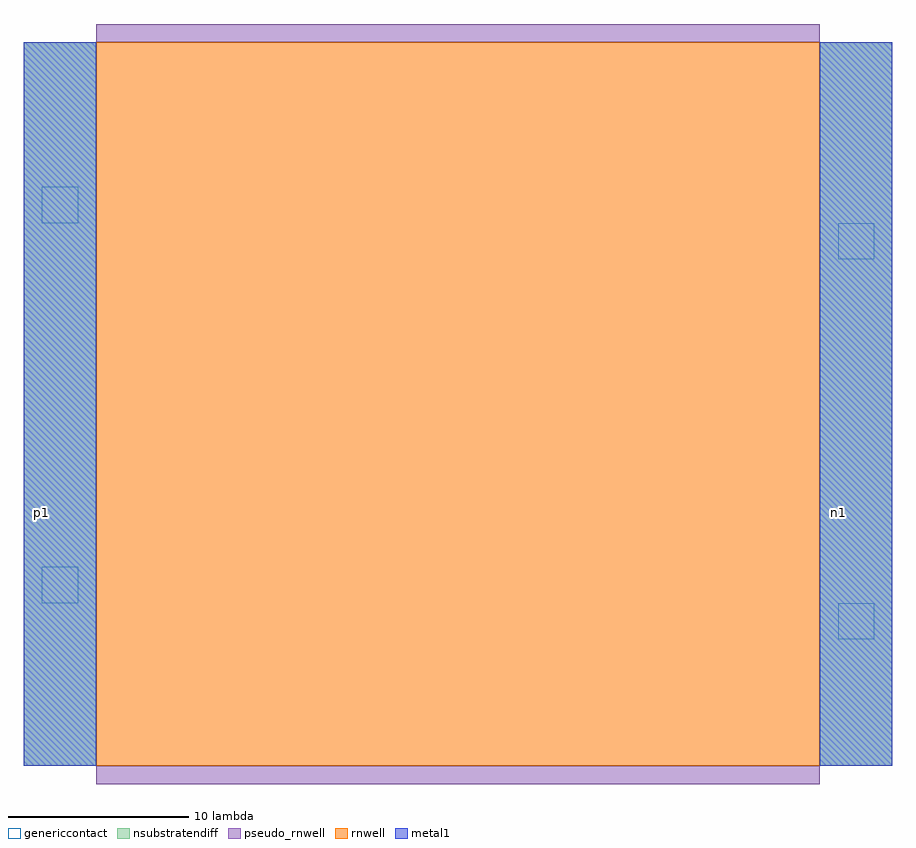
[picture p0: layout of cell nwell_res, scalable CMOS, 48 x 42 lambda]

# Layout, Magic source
magic
tech scmos
<< nsubstratendiff >>
rect 77 1 81 41
rect 121 1 125 41
<< genericcontact >>
rect 78 31 80 33
rect 122 29 124 31
rect 78 10 80 12
rect 122 8 124 10
<< metal1 >>
rect 77 1 81 41
rect 121 1 125 41
<< pseudo_rnwell >>
rect 81 41 121 42
rect 81 0 121 1
<< rnwell >>
rect 81 1 121 41
<< labels >>
rlabel metal1 s 78 15 78 15 2 p1
rlabel metal1 s 122 15 122 15 2 n1
<< end >>
